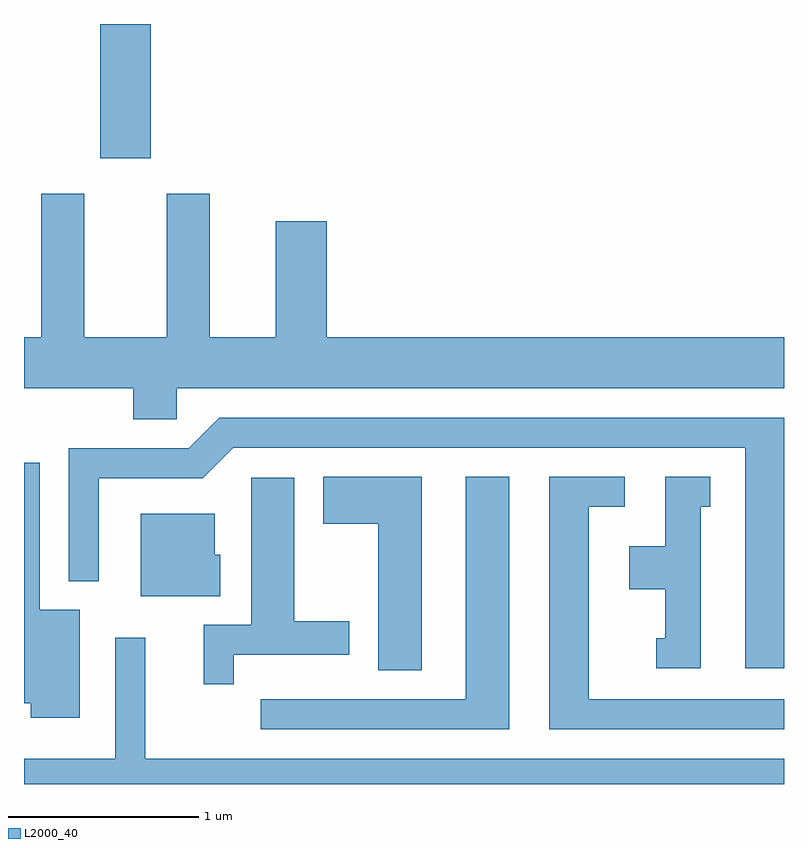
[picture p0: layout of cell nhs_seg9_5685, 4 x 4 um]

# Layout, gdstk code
import gdstk
lib = gdstk.Library(unit=1e-6, precision=1e-09)
def R(c, l, rs):  # rectangles x0, y0, x1, y1
    for r in rs: c.add(gdstk.rectangle(r[:2], r[2:], *l))
def P(c, l, *ps):  # polygons
    for p in ps: c.add(gdstk.Polygon(p, *l))
L2000_40 = (2000, 40)

nhs_seg9_5685 = lib.new_cell('nhs_seg9_5685')
R(nhs_seg9_5685, L2000_40, [(354.011,1959.726,354.279,1960.432)])
P(nhs_seg9_5685, L2000_40, [(354.414,1958.516),(357.611,1958.516),(357.611,1958.784),(355.204,1958.784),(355.204,1959.394),(354.936,1959.394),(354.936,1958.784),(354.589,1958.784),(354.589,1959.539),(354.361,1959.539),(354.361,1958.784),(353.929,1958.784),(353.929,1959.539),(353.701,1959.539),(353.701,1958.784),(353.611,1958.784),(353.611,1958.516),(354.186,1958.516),(354.186,1958.351),(354.414,1958.351)],
  [(357.611,1958.359),(354.639,1958.359),(354.479,1958.199),(353.846,1958.199),(353.846,1957.498),(354.004,1957.498),(354.004,1958.041),(354.552,1958.041),(354.712,1958.201),(357.406,1958.201),(357.406,1957.041),(357.611,1957.041)],
  [(353.904,1957.349),(353.694,1957.349),(353.694,1958.123),(353.611,1958.123),(353.611,1956.856),(353.646,1956.856),(353.646,1956.781),(353.904,1956.781)],
  [(356.164,1958.049),(355.936,1958.049),(355.936,1956.879),(354.858,1956.879),(354.858,1956.721),(356.164,1956.721)],
  [(357.611,1956.879),(356.584,1956.879),(356.584,1957.891),(356.773,1957.891),(356.773,1958.049),(356.376,1958.049),(356.376,1956.721),(357.611,1956.721)],
  [(355.704,1958.049),(355.186,1958.049),(355.186,1957.801),(355.476,1957.801),(355.476,1957.031),(355.704,1957.031)],
  [(357.174,1957.891),(357.223,1957.891),(357.223,1958.049),(356.986,1958.049),(356.986,1957.684),(356.796,1957.684),(356.796,1957.456),(356.986,1957.456),(356.986,1957.199),(356.938,1957.199),(356.938,1957.041),(357.174,1957.041)],
  [(354.714,1957.111),(355.324,1957.111),(355.324,1957.289),(355.034,1957.289),(355.034,1958.044),(354.806,1958.044),(354.806,1957.269),(354.556,1957.269),(354.556,1956.958),(354.714,1956.958)],
  [(354.644,1957.639),(354.614,1957.639),(354.614,1957.854),(354.226,1957.854),(354.226,1957.421),(354.644,1957.421)],
  [(357.611,1956.564),(354.249,1956.564),(354.249,1957.203),(354.091,1957.203),(354.091,1956.564),(353.611,1956.564),(353.611,1956.432),(357.611,1956.432)])

lib.write_gds('nhs_seg9_5685.gds')
